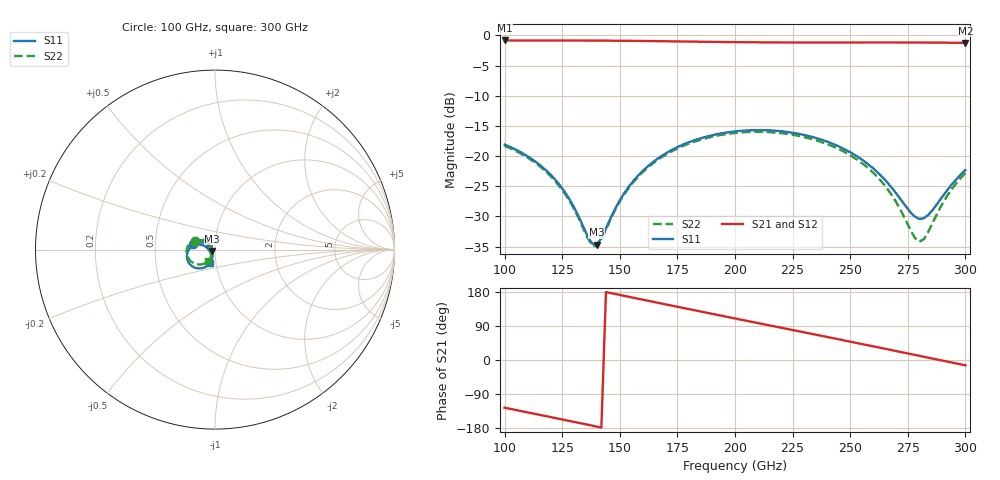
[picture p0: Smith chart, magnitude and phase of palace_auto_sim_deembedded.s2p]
! Created with skrf 1.11.0 (http://scikit-rf.org).
# GHz S DB R 50.0
!freq dBS11 angS11 dBS21 angS21 dBS12 angS12 dBS22 angS22
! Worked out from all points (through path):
!   101 points, 100 GHz to 300 GHz, reference 50 ohm
!   highest |S21| = -0.84 dB at 100 GHz (marker M1); lowest = -1.2 dB at 300 GHz (marker M2)
!   group delay of S21, straight-line fit = 3.44 ps
!   lowest |S11| = -34.7 dB at 140 GHz (marker M3), VSWR 1.04, Z = 48.4 - j0.808 ohm
!   |S11| at or under -10 dB: start of sweep to end of sweep
!   |S22| runs from -34.9 to -16.0 dB; largest |S21 - S12| = 1.1e-14
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100  -18.10 165.2  -0.84 -125.9  -0.84 -125.9  -18.31 158.2
110  -20.04 155.2  -0.85 -138.2  -0.85 -138.2  -20.25 147.5
120  -23.10 147.7  -0.85 -150.7  -0.85 -150.7  -23.34 139.2
128  -27.05 147.2  -0.86 -160.7  -0.86 -160.7  -27.31 138.2
134  -31.56 159.3  -0.86 -168.2  -0.86 -168.2  -31.86 150.1
138  -34.51 -173.3  -0.87 -173.2  -0.87 -173.2  -34.80 177.7
140  -34.68 -153.1  -0.87 -175.7  -0.87 -175.7  -34.93 -162.2
148  -28.72 -111.0  -0.89 174.2  -0.89 174.2  -28.90 -121.1
154  -25.03 -107.3  -0.91 166.7  -0.91 166.7  -25.22 -118.0
168  -20.02 -115.3  -0.97 149.2  -0.97 149.2  -20.23 -127.3
184  -17.17 -130.7  -1.05 129.3  -1.05 129.3  -17.41 -144.0
200  -15.92 -147.0  -1.12 109.7  -1.12 109.7  -16.17 -161.8
216  -15.77 -163.3  -1.17 90.1  -1.17 90.1  -16.06 -179.7
234  -16.88 179.0  -1.18 68.1  -1.18 68.1  -17.24 160.6
254  -20.30 163.1  -1.18 43.5  -1.18 43.5  -20.86 141.2
262  -22.74 160.4  -1.18 33.5  -1.18 33.5  -23.54 136.1
268  -25.22 162.5  -1.18 26.0  -1.18 26.0  -26.44 136.0
278  -30.02 -169.6  -1.18 13.5  -1.18 13.5  -33.52 167.2
280  -30.42 -158.3  -1.19 11.0  -1.19 11.0  -34.19 -175.2
284  -29.72 -135.8  -1.19 6.0  -1.19 6.0  -32.47 -142.7
292  -25.71 -113.3  -1.21 -4.0  -1.21 -4.0  -26.64 -122.2
300  -22.32 -109.9  -1.24 -14.1  -1.24 -14.1  -22.82 -122.7
